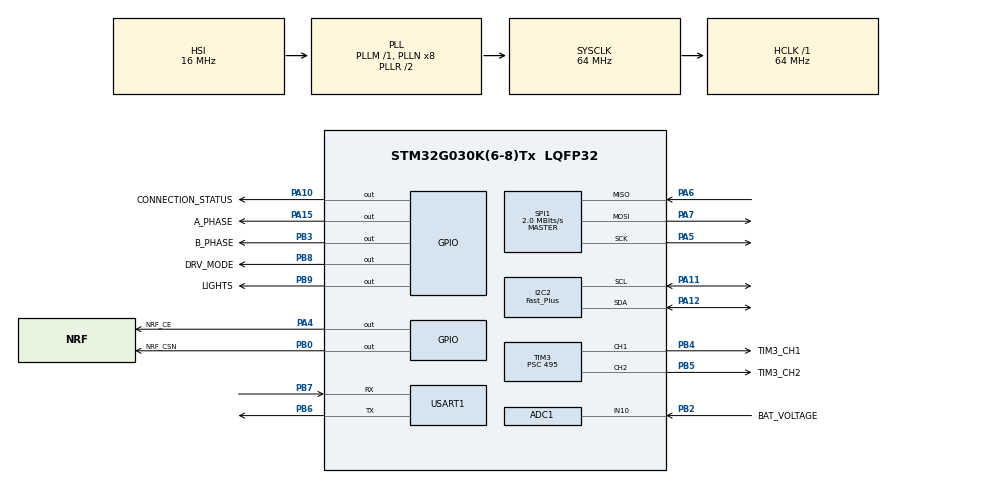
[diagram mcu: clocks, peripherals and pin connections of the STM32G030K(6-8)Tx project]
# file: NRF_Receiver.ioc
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ADC1.Channel-0\#ChannelRegularConversion=ADC_CHANNEL_10
ADC1.NbrOfConversion=1
ADC1.NbrOfConversionFlag=1
ADC1.Rank-0\#ChannelRegularConversion=1
ADC1.SamplingTime-0\#ChannelRegularConversion=ADC_SAMPLINGTIME_COMMON_1
ADC1.SamplingTimeCommon1=ADC_SAMPLETIME_160CYCLES_5
ADC1.SamplingTimeCommon2=ADC_SAMPLETIME_160CYCLES_5
ADC1.SelectedChannel=ADC_CHANNEL_10
ADC1.master=1
I2C2.I2C_Speed_Mode=I2C_Fast_Plus
I2C2.Timing=0x00300B29
IWDG.Prescaler=IWDG_PRESCALER_4
Mcu.Family=STM32G0
Mcu.Name=STM32G030K(6-8)Tx
Mcu.Package=LQFP32
NVIC.TIM1_BRK_UP_TRG_COM_IRQn=true\:0\:0\:false\:true\:true\:1\:true\:true\:true
PA10.GPIO_Label=CONNECTION_STATUS
PA10.GPIO_Speed=GPIO_SPEED_FREQ_VERY_HIGH
PA10.Signal=GPIO_Output
PA11\ [PA9].Mode=I2C
PA11\ [PA9].Signal=I2C2_SCL
PA12\ [PA10].Mode=I2C
PA12\ [PA10].Signal=I2C2_SDA
PA13.Mode=Serial_Wire
PA13.Signal=SYS_SWDIO
PA14-BOOT0.Mode=Serial_Wire
PA14-BOOT0.Signal=SYS_SWCLK
PA15.GPIO_Label=A_PHASE
PA15.GPIO_Speed=GPIO_SPEED_FREQ_VERY_HIGH
PA15.Signal=GPIO_Output
PA4.GPIO_Label=NRF_CE
PA4.GPIO_Speed=GPIO_SPEED_FREQ_VERY_HIGH
PA4.Signal=GPIO_Output
PA5.Mode=Full_Duplex_Master
PA5.Signal=SPI1_SCK
PA6.Mode=Full_Duplex_Master
PA6.Signal=SPI1_MISO
PA7.Mode=Full_Duplex_Master
PA7.Signal=SPI1_MOSI
PB0.GPIO_Label=NRF_CSN
PB0.GPIO_Speed=GPIO_SPEED_FREQ_VERY_HIGH
PB0.Signal=GPIO_Output
PB2.GPIO_Label=BAT_VOLTAGE
PB2.Mode=IN10
PB2.Signal=ADC1_IN10
PB3.GPIO_Label=B_PHASE
PB3.GPIO_Speed=GPIO_SPEED_FREQ_VERY_HIGH
PB3.Signal=GPIO_Output
PB4.GPIO_Label=TIM3_CH1
PB4.Signal=S_TIM3_CH1
PB5.GPIO_Label=TIM3_CH2
PB5.Signal=S_TIM3_CH2
PB6.Mode=Asynchronous
PB6.Signal=USART1_TX
PB7.Mode=Asynchronous
PB7.Signal=USART1_RX
PB8.GPIO_Label=DRV_MODE
PB8.GPIO_Speed=GPIO_SPEED_FREQ_VERY_HIGH
PB8.Signal=GPIO_Output
PB9.GPIO_Label=LIGHTS
PB9.GPIO_Speed=GPIO_SPEED_FREQ_VERY_HIGH
PB9.Signal=GPIO_Output
ProjectManager.HeapSize=0x200
ProjectManager.StackSize=0x400
ProjectManager.TargetToolchain=STM32CubeIDE
RCC.ADCFreq_Value=64000000
RCC.AHBFreq_Value=64000000
RCC.CortexFreq_Value=64000000
RCC.EXTERNAL_CLOCK_VALUE=12288000
RCC.HCLKFreq_Value=64000000
RCC.HSE_VALUE=8000000
RCC.HSI_VALUE=16000000
RCC.LSE_VALUE=32768
RCC.SYSCLKFreq_VALUE=64000000
RCC.SYSCLKSource=RCC_SYSCLKSOURCE_PLLCLK
RCC.VCOOutputFreq_Value=128000000
SH.S_TIM3_CH1.0=TIM3_CH1,PWM Generation1 CH1
SH.S_TIM3_CH2.0=TIM3_CH2,PWM Generation2 CH2
SPI1.BaudRatePrescaler=SPI_BAUDRATEPRESCALER_32
SPI1.CalculateBaudRate=2.0 MBits/s
SPI1.Direction=SPI_DIRECTION_2LINES
SPI1.Mode=SPI_MODE_MASTER
SPI1.VirtualType=VM_MASTER
TIM1.Period=128
TIM1.Prescaler=495
TIM3.Channel-PWM\ Generation1\ CH1=TIM_CHANNEL_1
TIM3.Channel-PWM\ Generation2\ CH2=TIM_CHANNEL_2
TIM3.Period=128
TIM3.Prescaler=495
USART1.VirtualMode-Asynchronous=VM_ASYNC
VP_IWDG_VS_IWDG.Mode=IWDG_Activate
VP_TIM1_VS_ClockSourceINT.Mode=Internal
board=custom

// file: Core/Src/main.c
/* USER CODE BEGIN Header */
/**
  ******************************************************************************
  * @file           : main.c
  * @brief          : Main program body
  ******************************************************************************
  * @attention
  *
  * Copyright (c) 2023 STMicroelectronics.
  * All rights reserved.
  *
  * This software is licensed under terms that can be found in the LICENSE file
  * in the root directory of this software component.
  * If no LICENSE file comes with this software, it is provided AS-IS.
  *
  ******************************************************************************
  */
/* USER CODE END Header */
#include "main.h"
#include "adc.h"
#include "i2c.h"
#include "iwdg.h"
#include "spi.h"
#include "tim.h"
#include "usart.h"
#include "gpio.h"

/* USER CODE BEGIN Includes */
#include "NRF2401/nrf2401.h"
#include "NRF2401/nrf2401_defs.h"
#include "SSD1306_OLED.h"
#include "GFX_BW.h"
#include "fonts/fonts.h"
#include "drv8835.h"
#include "lsm303dlhc.h"
#include "clock.h"
#include "frame.h"
#include "putchar.h"
#include "lights.h"
#include "battery.h"
#include "watchdog.h"
#include "stdio.h"
/* USER CODE END Includes */

/* USER CODE BEGIN PD */
#define MESSAGE_LENGTH 3

#define ACCELERATION_VALUE 0
#define VEER_VALUE 1
#define LIGHTS_STATE 2

#define INTERLINE 10

#define DISPLAY_REFRESH_INTERVAL 1000
#define NO_COMMUNICATION_INTERVAL 500
/* USER CODE END PD */

/* USER CODE BEGIN PV */
T_Frame frame = MOTORS;

uint8_t rx_data[MESSAGE_LENGTH];

char oled_message[32];
uint8_t line = 0;

double battery_voltage;

float acc_x, acc_y, acc_z;
/* USER CODE END PV */

void SystemClock_Config(void);
static void MX_NVIC_Init(void);
/* USER CODE BEGIN PFP */
void Scan_I2C();
/* USER CODE END PFP */

int main(void)
{

  /* MCU Configuration--------------------------------------------------------*/

  /* Reset of all peripherals, Initializes the Flash interface and the Systick. */
  HAL_Init();

  /* Configure the system clock */
  SystemClock_Config();

  /* Initialize all configured peripherals */
  MX_GPIO_Init();
  MX_USART1_UART_Init();
  MX_TIM1_Init();
  MX_ADC1_Init();
  MX_I2C2_Init();
  MX_SPI1_Init();
  MX_TIM3_Init();
  MX_IWDG_Init();

  /* Initialize interrupts */
  MX_NVIC_Init();
  /* USER CODE BEGIN 2 */
  WDG_ResetInfo();

  Clock_Init(&htim1);
  NRF_Init(&hspi1, 'r');
  DRV8835_Init(&htim3, TIM_CHANNEL_1, TIM_CHANNEL_2);
  Battery_Init(&hadc1, ADC_CHANNEL_10);
  LSM303DLHC_Init(&hi2c2);

  SSD1306_Init(&hi2c2);
  GFX_SetFont(font_8x5);
  SSD1306_Clear(BLACK);
  SSD1306_Display();

  uint32_t display_tick = HAL_GetTick();
  uint8_t message_received = 0;

  uint32_t last_message_received_tick;
  //Scan_I2C();
  /* USER CODE END 2 */

  /* Infinite loop */
  /* USER CODE BEGIN WHILE */
  while (1)
  {
	  NRF_process(rx_data);
	  if(NRF_IsMessageReceived())
	  {
		  switch(frame)
		  {
		  	  case MOTORS:
		  		  	  DRV8835_Move(rx_data[ACCELERATION_VALUE], rx_data[VEER_VALUE]);
					  frame = LIGHTS;
		  		  continue;

		  	  case LIGHTS:
		  		  	  Lights_SetState(LIGHTS_GPIO_Port, LIGHTS_Pin, rx_data[LIGHTS_STATE]);
		  		  	  frame = MOTORS;
		  		  break;
		  }

		  if(HAL_GetTick() - display_tick > DISPLAY_REFRESH_INTERVAL)
		  {
			  battery_voltage = Battery_GetVoltage();
			  LSM303DLHC_ReadValues(&acc_x, &acc_y, &acc_z);

			  SSD1306_Clear(BLACK);
			  sprintf(oled_message, "acceleration:[%d]", rx_data[ACCELERATION_VALUE]);
			  GFX_DrawString(0, line, oled_message, WHITE, 0);

			  sprintf(oled_message, "veer:[%d]", rx_data[VEER_VALUE]);
			  GFX_DrawString(0, line+=INTERLINE, oled_message, WHITE, 0);

			  sprintf(oled_message, "lights:[%d]", rx_data[LIGHTS_STATE]);
			  GFX_DrawString(0, line+=INTERLINE, oled_message, WHITE, 0);

			  sprintf(oled_message, "Vbat:%.2f RX msg:%d", battery_voltage, message_received);
			  GFX_DrawString(0, line+=INTERLINE, oled_message, WHITE, 0);

			  sprintf(oled_message, "X %4s Y %4s Z", "", "");
			  GFX_DrawString(0, line+=INTERLINE, oled_message, WHITE, 0);

			  sprintf(oled_message, "%.2f | %.2f | %.2f", acc_x, acc_y, acc_z);
			  GFX_DrawString(0, line+=INTERLINE, oled_message, WHITE, 0);

			  line = 0;
			  SSD1306_Display();

			  display_tick = HAL_GetTick();
			  printf("Message received per second %d \r\n", message_received);
			  message_received = 0;
		  }
		  last_message_received_tick = HAL_GetTick();
		  message_received++;
		  NRF_ReceiveNextMessage();
	  }
	  if(HAL_GetTick() - last_message_received_tick > NO_COMMUNICATION_INTERVAL)
	  {
		  DRV8835_Move(128, 128);
		  Lights_SetState(LIGHTS_GPIO_Port, LIGHTS_Pin, 0);
		  last_message_received_tick = HAL_GetTick();
	  }
	  WDG_Refresh(&hiwdg);
    /* USER CODE END WHILE */

  }
}

void SystemClock_Config(void)
{
  RCC_OscInitTypeDef RCC_OscInitStruct = {0};
  RCC_ClkInitTypeDef RCC_ClkInitStruct = {0};

  /** Configure the main internal regulator output voltage
  */
  HAL_PWREx_ControlVoltageScaling(PWR_REGULATOR_VOLTAGE_SCALE1);

  /** Initializes the RCC Oscillators according to the specified parameters
  * in the RCC_OscInitTypeDef structure.
  */
  RCC_OscInitStruct.OscillatorType = RCC_OSCILLATORTYPE_HSI|RCC_OSCILLATORTYPE_LSI;
  RCC_OscInitStruct.HSIState = RCC_HSI_ON;
  RCC_OscInitStruct.HSIDiv = RCC_HSI_DIV1;
  RCC_OscInitStruct.HSICalibrationValue = RCC_HSICALIBRATION_DEFAULT;
  RCC_OscInitStruct.LSIState = RCC_LSI_ON;
  RCC_OscInitStruct.PLL.PLLState = RCC_PLL_ON;
  RCC_OscInitStruct.PLL.PLLSource = RCC_PLLSOURCE_HSI;
  RCC_OscInitStruct.PLL.PLLM = RCC_PLLM_DIV1;
  RCC_OscInitStruct.PLL.PLLN = 8;
  RCC_OscInitStruct.PLL.PLLP = RCC_PLLP_DIV2;
  RCC_OscInitStruct.PLL.PLLR = RCC_PLLR_DIV2;
  if (HAL_RCC_OscConfig(&RCC_OscInitStruct) != HAL_OK)
  {
    Error_Handler();
  }

  /** Initializes the CPU, AHB and APB buses clocks
  */
  RCC_ClkInitStruct.ClockType = RCC_CLOCKTYPE_HCLK|RCC_CLOCKTYPE_SYSCLK
                              |RCC_CLOCKTYPE_PCLK1;
  RCC_ClkInitStruct.SYSCLKSource = RCC_SYSCLKSOURCE_PLLCLK;
  RCC_ClkInitStruct.AHBCLKDivider = RCC_SYSCLK_DIV1;
  RCC_ClkInitStruct.APB1CLKDivider = RCC_HCLK_DIV1;

  if (HAL_RCC_ClockConfig(&RCC_ClkInitStruct, FLASH_LATENCY_2) != HAL_OK)
  {
    Error_Handler();
  }
}

/**
  * @brief NVIC Configuration.
  * @retval None
  */
static void MX_NVIC_Init(void)
{
  /* TIM1_BRK_UP_TRG_COM_IRQn interrupt configuration */
  HAL_NVIC_SetPriority(TIM1_BRK_UP_TRG_COM_IRQn, 0, 0);
  HAL_NVIC_EnableIRQ(TIM1_BRK_UP_TRG_COM_IRQn);
}

/* USER CODE BEGIN 4 */
void Scan_I2C()
{
	printf("Scanning I2C bus:\r\n");
	HAL_StatusTypeDef result;
	uint8_t i;
	for (i=1; i<128; i++)
	{
		/*
		* the HAL wants a left aligned i2c address
		* &hi2c1 is the handle
		* (uint16_t)(i<<1) is the i2c address left aligned
		* retries 2
		* timeout 2
		*/
		result = HAL_I2C_IsDeviceReady(&hi2c2, (uint16_t)(i<<1), 2, 2);
		if (result != HAL_OK) // HAL_ERROR or HAL_BUSY or HAL_TIMEOUT
		{
		  printf("."); // No ACK received at that address
		}
		if (result == HAL_OK)
		{
		  printf("0x%X", i); // Received an ACK at that address
		}
	}
	printf("\r\n");
}
/* USER CODE END 4 */

void Error_Handler(void)
{
  __disable_irq();
  while (1)
  {
  }
}
